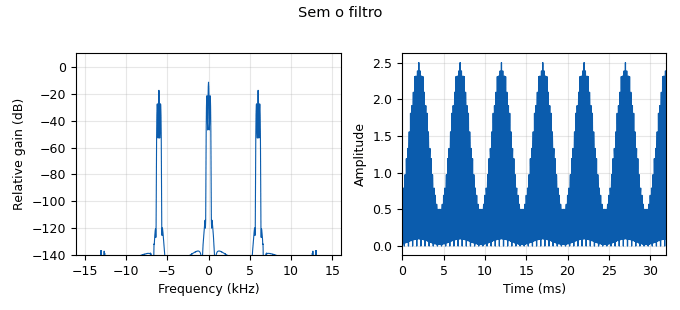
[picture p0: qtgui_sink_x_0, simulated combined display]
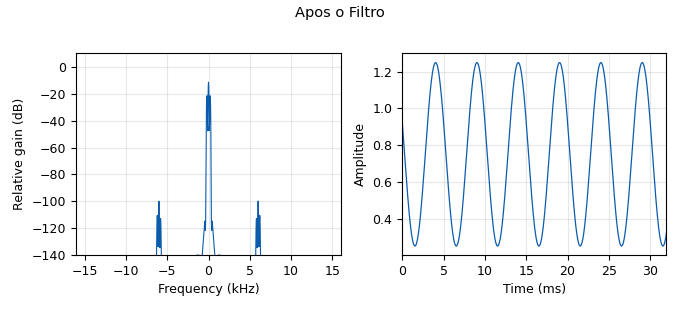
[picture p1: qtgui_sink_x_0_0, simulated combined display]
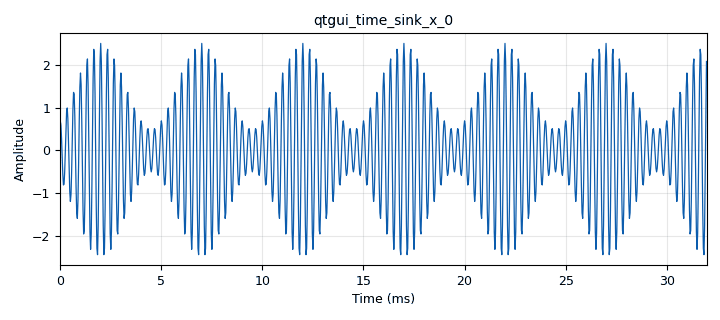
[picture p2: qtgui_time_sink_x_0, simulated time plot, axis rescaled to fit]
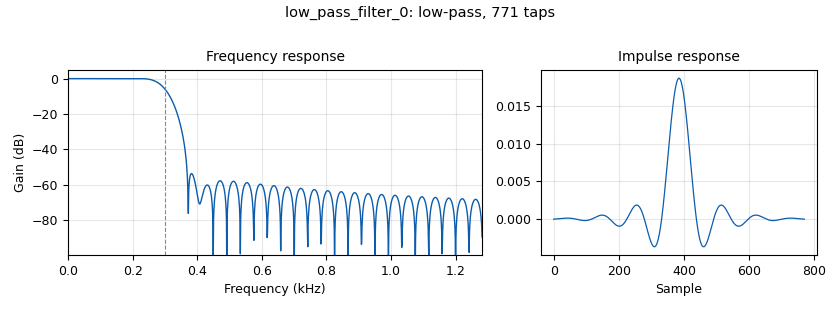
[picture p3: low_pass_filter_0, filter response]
options:
  parameters:
    generate_options: qt_gui
    id: AMDemodula
    output_language: python
    title: Not titled yet
  states: {}

blocks:
- name: samp_rate
  id: variable
  parameters:
    value: '32000'
  states: {}
- name: analog_const_source_x_0
  id: analog_const_source_x
  parameters:
    const: '1.5'
    type: float
  states: {}
- name: analog_sig_source_x_0
  id: analog_sig_source_x
  parameters:
    alias: Mensagem (mdulante)
    amp: '1'
    freq: '3000'
    offset: '0'
    phase: '0'
    samp_rate: samp_rate
    type: float
    waveform: analog.GR_COS_WAVE
  states: {}
- name: analog_sig_source_x_0_0
  id: analog_sig_source_x
  parameters:
    alias: Portadora
    amp: '1'
    freq: '200'
    offset: '0'
    phase: '0'
    samp_rate: samp_rate
    type: float
    waveform: analog.GR_COS_WAVE
  states: {}
- name: analog_sig_source_x_0_0_0
  id: analog_sig_source_x
  parameters:
    amp: '1'
    freq: '3000'
    offset: '0'
    phase: '0'
    samp_rate: samp_rate
    type: float
    waveform: analog.GR_COS_WAVE
  states: {}
- name: blocks_add_xx_0
  id: blocks_add_xx
  parameters:
    type: float
  states: {}
- name: blocks_multiply_xx_0
  id: blocks_multiply_xx
  parameters:
    type: float
  states: {}
- name: blocks_multiply_xx_0_0
  id: blocks_multiply_xx
  parameters:
    type: float
  states: {}
- name: blocks_throttle_0
  id: blocks_throttle
  parameters:
    samples_per_second: samp_rate
    type: float
  states: {}
- name: low_pass_filter_0
  id: low_pass_filter
  parameters:
    cutoff_freq: '300'
    decim: '1'
    gain: '1'
    samp_rate: samp_rate
    type: fir_filter_fff
    width: '100'
    win: window.WIN_HAMMING
  states: {}
- name: qtgui_sink_x_0
  id: qtgui_sink_x
  parameters:
    bw: samp_rate
    fc: '0'
    fftsize: '1024'
    name: '"Sem o filtro"'
    type: float
  states: {}
- name: qtgui_sink_x_0_0
  id: qtgui_sink_x
  parameters:
    bw: samp_rate
    fc: '0'
    fftsize: '1024'
    name: '"Apos o Filtro"'
    type: float
  states: {}
- name: qtgui_time_sink_x_0
  id: qtgui_time_sink_x
  parameters:
    size: '1024'
    srate: samp_rate
    type: float
  states: {}

connections:
- [analog_const_source_x_0, '0', blocks_add_xx_0, '1']
- [analog_sig_source_x_0, '0', blocks_multiply_xx_0, '0']
- [analog_sig_source_x_0_0, '0', blocks_add_xx_0, '0']
- [analog_sig_source_x_0_0_0, '0', blocks_multiply_xx_0_0, '1']
- [blocks_add_xx_0, '0', blocks_multiply_xx_0, '1']
- [blocks_multiply_xx_0, '0', blocks_throttle_0, '0']
- [blocks_multiply_xx_0, '0', qtgui_time_sink_x_0, '0']
- [blocks_multiply_xx_0_0, '0', low_pass_filter_0, '0']
- [blocks_multiply_xx_0_0, '0', qtgui_sink_x_0, '0']
- [blocks_throttle_0, '0', blocks_multiply_xx_0_0, '0']
- [low_pass_filter_0, '0', qtgui_sink_x_0_0, '0']

metadata:
  file_format: 1
  grc_version: 3.10.2.0
